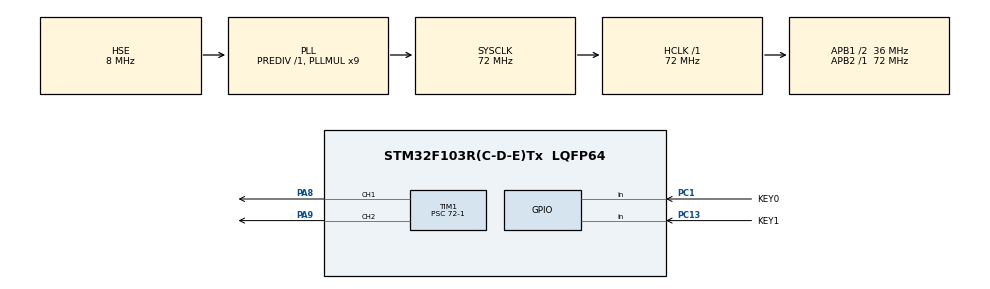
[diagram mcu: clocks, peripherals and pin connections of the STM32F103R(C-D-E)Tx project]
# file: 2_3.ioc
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Mcu.Family=STM32F1
Mcu.Name=STM32F103R(C-D-E)Tx
Mcu.Package=LQFP64
NVIC.PriorityGroup=NVIC_PRIORITYGROUP_4
PA13.Mode=Serial_Wire
PA13.Signal=SYS_JTMS-SWDIO
PA14.Mode=Serial_Wire
PA14.Signal=SYS_JTCK-SWCLK
PA8.Signal=S_TIM1_CH1
PA9.Signal=S_TIM1_CH2
PC1.GPIO_Label=KEY0
PC1.GPIO_PuPd=GPIO_PULLUP
PC1.Signal=GPIO_Input
PC13-TAMPER-RTC.GPIO_Label=KEY1
PC13-TAMPER-RTC.GPIO_PuPd=GPIO_PULLUP
PC13-TAMPER-RTC.Signal=GPIO_Input
PD0-OSC_IN.Mode=HSE-External-Oscillator
PD0-OSC_IN.Signal=RCC_OSC_IN
PD1-OSC_OUT.Mode=HSE-External-Oscillator
PD1-OSC_OUT.Signal=RCC_OSC_OUT
ProjectManager.HeapSize=0x200
ProjectManager.StackSize=0x400
ProjectManager.TargetToolchain=MDK-ARM V5.32
RCC.AHBFreq_Value=72000000
RCC.APB1CLKDivider=RCC_HCLK_DIV2
RCC.APB1Freq_Value=36000000
RCC.APB1TimFreq_Value=72000000
RCC.APB2Freq_Value=72000000
RCC.APB2TimFreq_Value=72000000
RCC.HCLKFreq_Value=72000000
RCC.PLLMUL=RCC_PLL_MUL9
RCC.PLLSourceVirtual=RCC_PLLSOURCE_HSE
RCC.SYSCLKFreq_VALUE=72000000
RCC.SYSCLKSource=RCC_SYSCLKSOURCE_PLLCLK
RCC.USBFreq_Value=72000000
SH.S_TIM1_CH1.0=TIM1_CH1,PWM Generation1 CH1
SH.S_TIM1_CH2.0=TIM1_CH2,PWM Generation2 CH2
TIM1.AutoReloadPreload=TIM_AUTORELOAD_PRELOAD_ENABLE
TIM1.Channel-PWM\ Generation1\ CH1=TIM_CHANNEL_1
TIM1.Channel-PWM\ Generation2\ CH2=TIM_CHANNEL_2
TIM1.Period=1000-1
TIM1.Prescaler=72-1
board=custom

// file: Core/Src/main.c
/* USER CODE BEGIN Header */
/**
  ******************************************************************************
  * @file           : main.c
  * @brief          : Main program body
  ******************************************************************************
  * @attention
  *
  * Copyright (c) 2025 STMicroelectronics.
  * All rights reserved.
  *
  * This software is licensed under terms that can be found in the LICENSE file
  * in the root directory of this software component.
  * If no LICENSE file comes with this software, it is provided AS-IS.
  *
  ******************************************************************************
  */
/* USER CODE END Header */
#include "main.h"
#include "tim.h"
#include "gpio.h"

/* USER CODE BEGIN PV */
uint16_t speed = 0;
uint8_t direction = 0;
uint32_t k0_press = 0,k1_press = 0;
/* USER CODE END PV */

void SystemClock_Config(void);

/* USER CODE BEGIN 0 */
void Control(uint16_t speed,uint8_t direction){
  if(direction == 0){ // 正转
    __HAL_TIM_SET_COMPARE(&htim1, TIM_CHANNEL_1, speed);
    __HAL_TIM_SET_COMPARE(&htim1, TIM_CHANNEL_2, 0);
  }else if(direction == 1){ // 逆转
    __HAL_TIM_SET_COMPARE(&htim1, TIM_CHANNEL_1, 0);
    __HAL_TIM_SET_COMPARE(&htim1, TIM_CHANNEL_2, speed);
  }
}

void Key(){
    static uint8_t k0_last_state = 1;
    static uint8_t k1_last_state = 1;
    uint8_t k0_current_state = HAL_GPIO_ReadPin(KEY0_GPIO_Port, KEY0_Pin);
    uint8_t k1_current_state = HAL_GPIO_ReadPin(KEY1_GPIO_Port, KEY1_Pin);
    uint32_t current_tick = HAL_GetTick();

    // K0
    if(k0_current_state == 0 && k0_last_state == 1) {
        if((current_tick - k0_press) > 20){
            k0_press = current_tick;

            if(speed > 0){
                speed -= 500;
                if(speed < 0){
                  speed = 0;
                }
            }
            else{
                direction = !direction;
                speed = 500;
            }
            Control(speed, direction);
        }
    }
    k0_last_state = k0_current_state;

    // K1
    if(k1_current_state == 0 && k1_last_state == 1){
        if((current_tick - k1_press) > 20){
            k1_press = current_tick;

            if(speed < 1000){
                speed += 500;
                if(speed > 1000) speed = 1000;
            }

            Control(speed, direction);
        }
    }
    k1_last_state = k1_current_state;
}
/* USER CODE END 0 */

int main(void)
{

  /* MCU Configuration--------------------------------------------------------*/

  /* Reset of all peripherals, Initializes the Flash interface and the Systick. */
  HAL_Init();

  /* Configure the system clock */
  SystemClock_Config();

  /* Initialize all configured peripherals */
  MX_GPIO_Init();
  MX_TIM1_Init();
  /* USER CODE BEGIN 2 */
  HAL_TIM_PWM_Start(&htim1, TIM_CHANNEL_1);
  HAL_TIM_PWM_Start(&htim1, TIM_CHANNEL_2);
  Control(0, 0);
  /* USER CODE END 2 */

  /* Infinite loop */
  /* USER CODE BEGIN WHILE */
  while (1)
  {
    Key();
    HAL_Delay(10);
    /* USER CODE END WHILE */

  }
}

void SystemClock_Config(void)
{
  RCC_OscInitTypeDef RCC_OscInitStruct = {0};
  RCC_ClkInitTypeDef RCC_ClkInitStruct = {0};

  /** Initializes the RCC Oscillators according to the specified parameters
  * in the RCC_OscInitTypeDef structure.
  */
  RCC_OscInitStruct.OscillatorType = RCC_OSCILLATORTYPE_HSE;
  RCC_OscInitStruct.HSEState = RCC_HSE_ON;
  RCC_OscInitStruct.HSEPredivValue = RCC_HSE_PREDIV_DIV1;
  RCC_OscInitStruct.HSIState = RCC_HSI_ON;
  RCC_OscInitStruct.PLL.PLLState = RCC_PLL_ON;
  RCC_OscInitStruct.PLL.PLLSource = RCC_PLLSOURCE_HSE;
  RCC_OscInitStruct.PLL.PLLMUL = RCC_PLL_MUL9;
  if (HAL_RCC_OscConfig(&RCC_OscInitStruct) != HAL_OK)
  {
    Error_Handler();
  }

  /** Initializes the CPU, AHB and APB buses clocks
  */
  RCC_ClkInitStruct.ClockType = RCC_CLOCKTYPE_HCLK|RCC_CLOCKTYPE_SYSCLK
                              |RCC_CLOCKTYPE_PCLK1|RCC_CLOCKTYPE_PCLK2;
  RCC_ClkInitStruct.SYSCLKSource = RCC_SYSCLKSOURCE_PLLCLK;
  RCC_ClkInitStruct.AHBCLKDivider = RCC_SYSCLK_DIV1;
  RCC_ClkInitStruct.APB1CLKDivider = RCC_HCLK_DIV2;
  RCC_ClkInitStruct.APB2CLKDivider = RCC_HCLK_DIV1;

  if (HAL_RCC_ClockConfig(&RCC_ClkInitStruct, FLASH_LATENCY_2) != HAL_OK)
  {
    Error_Handler();
  }
}

void Error_Handler(void)
{
  __disable_irq();
  while (1)
  {
  }
}
